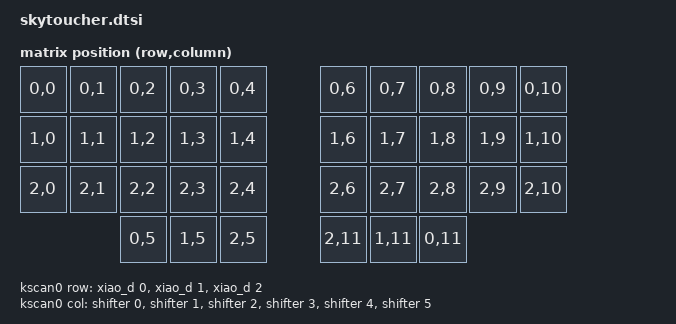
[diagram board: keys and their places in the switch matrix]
/*
 * Copyright (c) 2022 The ZMK Contributors
 *
 * SPDX-License-Identifier: MIT
 */

#include <dt-bindings/zmk/matrix_transform.h>

&xiao_serial { status = "disabled"; };

&xiao_spi {
    status = "okay";
    cs-gpios = <&xiao_d 6 GPIO_ACTIVE_LOW>;
    shifter: 595@0 {
        compatible = "zmk,gpio-595";
        status = "okay";
        gpio-controller;
        spi-max-frequency = <200000>;
        reg = <0>;
        label = "74HC595";
        #gpio-cells = <2>;
        ngpios = <8>;
    };  
};

/ {
    chosen {
        zmk,kscan = &kscan0;
        zmk,matrix_transform = &default_transform;
    };

    default_transform: keymap_transform_0 {
        compatible = "zmk,matrix-transform";
        columns = <12>;
        rows = <3>;

        map = <
            RC(0,0)     RC(0,1)     RC(0,2)     RC(0,3)     RC(0,4)         RC(0,6)     RC(0,7)     RC(0,8)     RC(0,9)     RC(0,10)
            RC(1,0)     RC(1,1)     RC(1,2)     RC(1,3)     RC(1,4)         RC(1,6)     RC(1,7)     RC(1,8)     RC(1,9)     RC(1,10)
            RC(2,0)     RC(2,1)     RC(2,2)     RC(2,3)     RC(2,4)         RC(2,6)     RC(2,7)     RC(2,8)     RC(2,9)     RC(2,10)
                                    RC(0,5)     RC(1,5)     RC(2,5)         RC(2,11)    RC(1,11)    RC(0,11)    
        >;
    };

    kscan0: kscan_0 {        
        compatible = "zmk,kscan-gpio-matrix";
        label = "KSCAN";
        diode-direction = "col2row";

        col-gpios
            = <&shifter 0 GPIO_ACTIVE_HIGH>
            , <&shifter 1 GPIO_ACTIVE_HIGH>
            , <&shifter 2 GPIO_ACTIVE_HIGH>
            , <&shifter 3 GPIO_ACTIVE_HIGH>
            , <&shifter 4 GPIO_ACTIVE_HIGH>
            , <&shifter 5 GPIO_ACTIVE_HIGH>
            ;


        row-gpios
            = <&xiao_d 0 (GPIO_ACTIVE_HIGH | GPIO_PULL_DOWN)>
            , <&xiao_d 1 (GPIO_ACTIVE_HIGH | GPIO_PULL_DOWN)>
            , <&xiao_d 2 (GPIO_ACTIVE_HIGH | GPIO_PULL_DOWN)>
            ;

    };
};
